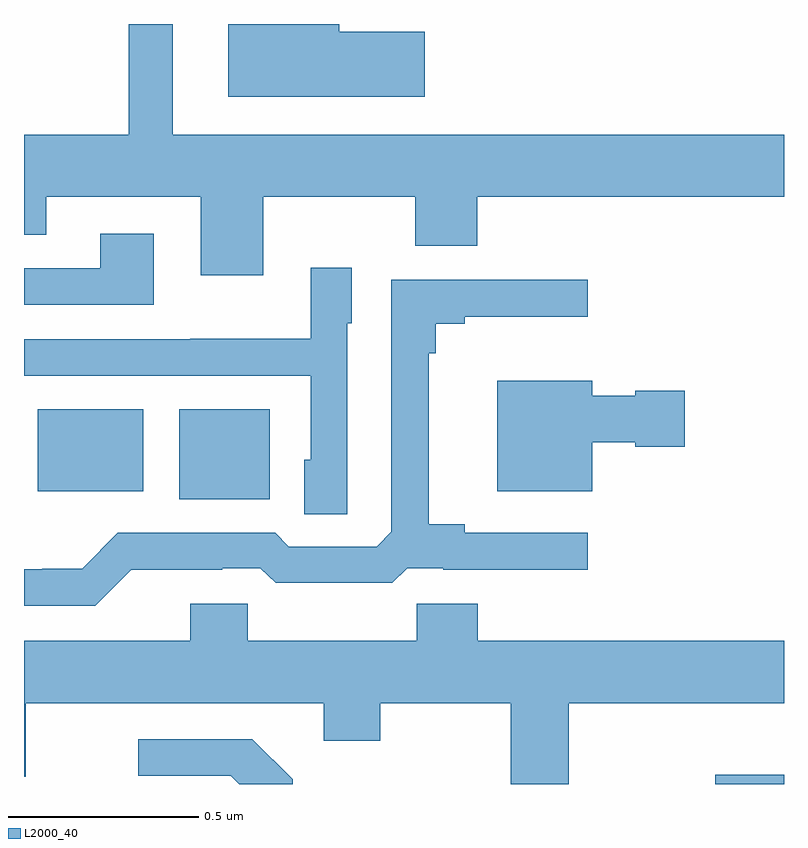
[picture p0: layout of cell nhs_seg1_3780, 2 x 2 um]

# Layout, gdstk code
import gdstk
lib = gdstk.Library(unit=1e-6, precision=1e-09)
def R(c, l, rs):  # rectangles x0, y0, x1, y1
    for r in rs: c.add(gdstk.rectangle(r[:2], r[2:], *l))
def P(c, l, *ps):  # polygons
    for p in ps: c.add(gdstk.Polygon(p, *l))
L2000_40 = (2000, 40)

nhs_seg1_3780 = lib.new_cell('nhs_seg1_3780')
R(nhs_seg1_3780, L2000_40, [(159.819,538.199,160,538.224), (158.408,538.949,158.647,539.185), (158.036,538.97,158.314,539.185)])
P(nhs_seg1_3780, L2000_40, [(158.629,539.744),(159.029,539.744),(159.029,539.616),(159.193,539.616),(159.193,539.744),(160,539.744),(160,539.908),(158.392,539.908),(158.392,540.199),(158.275,540.199),(158.275,539.908),(158,539.908),(158,539.645),(158.059,539.645),(158.059,539.744),(158.465,539.744),(158.465,539.538),(158.629,539.538)],
  [(159.055,540.179),(158.83,540.179),(158.83,540.199),(158.537,540.199),(158.537,540.008),(159.055,540.008)],
  [(158.341,539.647),(158.201,539.647),(158.201,539.556),(158,539.556),(158,539.46),(158.341,539.46)],
  [(158.85,539.412),(158.863,539.412),(158.863,539.557),(158.754,539.557),(158.754,539.371),(158.437,539.371),(158.437,539.37),(158,539.37),(158,539.274),(158.754,539.274),(158.754,539.052),(158.738,539.052),(158.738,538.909),(158.85,538.909)],
  [(158.282,538.763),(158.522,538.763),(158.522,538.767),(158.622,538.767),(158.662,538.728),(158.969,538.728),(159.009,538.767),(159.103,538.767),(159.103,538.763),(159.484,538.763),(159.484,538.86),(159.16,538.86),(159.16,538.883),(159.065,538.883),(159.065,539.333),(159.083,539.333),(159.083,539.41),(159.16,539.41),(159.16,539.429),(159.484,539.429),(159.484,539.526),(158.967,539.526),(158.967,538.863),(158.928,538.824),(158.697,538.824),(158.661,538.86),(158.247,538.86),(158.153,538.766),(158.048,538.766),(158.048,538.764),(158,538.764),(158,538.668),(158.187,538.668)],
  [(159.496,539.099),(159.609,539.099),(159.609,539.087),(159.739,539.087),(159.739,539.234),(159.609,539.234),(159.609,539.221),(159.496,539.221),(159.496,539.26),(159.245,539.26),(159.245,538.97),(159.496,538.97)],
  [(159.434,538.412),(160,538.412),(160,538.576),(159.194,538.576),(159.194,538.674),(159.034,538.674),(159.034,538.576),(158.589,538.576),(158.589,538.674),(158.438,538.674),(158.438,538.576),(158,538.576),(158,538.218),(158.005,538.218),(158.005,538.412),(158.789,538.412),(158.789,538.313),(158.937,538.313),(158.937,538.412),(159.281,538.412),(159.281,538.199),(159.434,538.199)],
  [(158.707,538.211),(158.601,538.317),(158.301,538.317),(158.301,538.221),(158.544,538.221),(158.566,538.199),(158.707,538.199)])

lib.write_gds('nhs_seg1_3780.gds')
